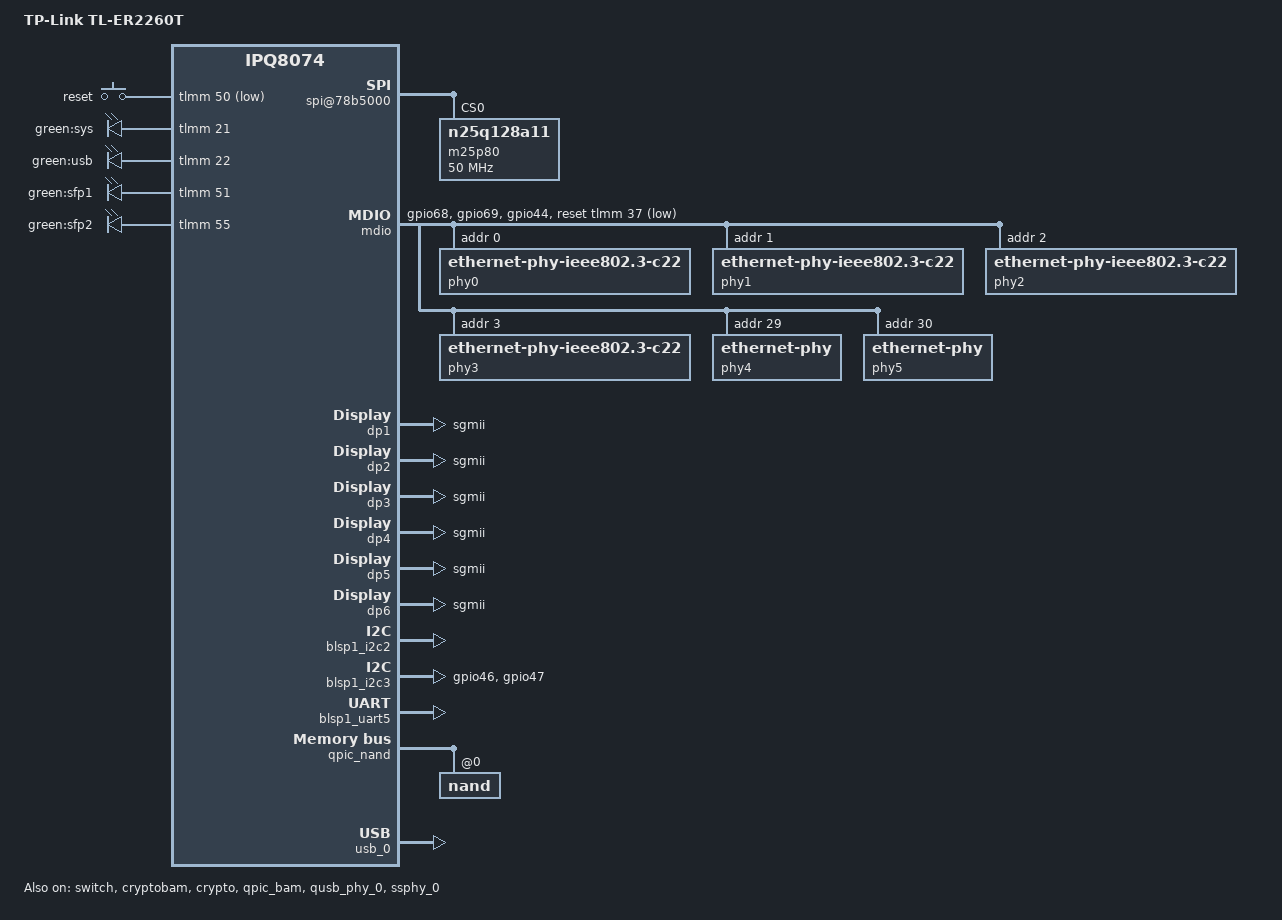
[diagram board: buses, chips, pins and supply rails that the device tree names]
// SPDX-License-Identifier: GPL-2.0-only
/* Copyright (c) 2020 The Linux Foundation. All rights reserved.
 */

/dts-v1/;

#include "ipq8074.dtsi"
#include "ipq8074-ess.dtsi"
#include "ipq8074-hk-cpu.dtsi"
#include <dt-bindings/gpio/gpio.h>
#include <dt-bindings/input/input.h>
#include <dt-bindings/leds/common.h>
/ {
	#address-cells = <0x2>;
	#size-cells = <0x2>;
	model = "TP-Link TL-ER2260T";
	compatible = "tplink,tl-er2260t", "qcom,ipq8074";
	qcom,msm-id = <0x143 0x0>;
	interrupt-parent = <&intc>;

	aliases {
		led-boot = &led_sys;
		led-failsafe = &led_sys;
		led-running = &led_sys;
		led-upgrade = &led_sys;
		serial0 = &blsp1_uart5;

		ethernet0 = "/soc/dp1";
		ethernet1 = "/soc/dp2";
		ethernet2 = "/soc/dp3";
		ethernet3 = "/soc/dp4";
		ethernet4 = "/soc/dp5";
		ethernet5 = "/soc/dp6";
	};

	chosen {
		stdout-path = "serial0";
		bootargs-append = " root=/dev/ubiblock0_1";
	};

	gpio_keys {
		compatible = "gpio-keys";
		pinctrl-0 = <&button_pins>;
		pinctrl-names = "default";

		reset {
			label = "reset";
			linux,code = <KEY_RESTART>;
			gpios = <&tlmm 50 GPIO_ACTIVE_LOW>;
			linux,input-type = <1>;
			debounce-interval = <60>;
		};
	};

	leds {
		compatible = "gpio-leds";
		pinctrl-0 = <&leds_pins>;
		pinctrl-names = "default";

		led_sys: sys {
			label = "green:sys";
			gpios = <&tlmm 21 GPIO_ACTIVE_HIGH>;
		};

		usb {
			label = "green:usb";
			gpios = <&tlmm 22 GPIO_ACTIVE_HIGH>;
			linux,default-trigger = "usbport";
		};

		sfp1-green {
			label = "green:sfp1";
			gpios = <&tlmm 51 GPIO_ACTIVE_HIGH>;
		};

		sfp2-green {
			label = "green:sfp2";
			gpios = <&tlmm 55 GPIO_ACTIVE_HIGH>;
		};
	};
	
	spi@78b5000 {
		status = "ok";
		pinctrl-0 = <&spi_0_pins>;
		pinctrl-names = "default";
		cs-select = <0>;

		m25p80@0 {
			  compatible = "n25q128a11";
			  #address-cells = <1>;
			  #size-cells = <1>;
			  reg = <0>;
			  spi-max-frequency = <50000000>;
		};
	};
};

&tlmm {
	mdio_pins: mdio_pinmux {
		mux_0 {
			pins = "gpio68";
			function = "mdc";
			drive-strength = <8>;
			bias-pull-up;
		};
		mux_1 {
			pins = "gpio69";
			function = "mdio";
			drive-strength = <8>;
			bias-pull-up;
		};
		mux_2 {
			pins = "gpio44";
			function = "gpio";
			bias-pull-up;
		};
	};

	i2c_1_pins: i2c_1_pins {
		pins = "gpio46", "gpio47";
		function = "blsp2_i2c";
		drive-strength = <8>;
		bias-disable;
	};

	button_pins: button_pins {
		reset {
			pins = "gpio50";
			function = "gpio";
			drive-strength = <8>;
			bias-pull-up;
		};
	};

	uniphy_pins: uniphy_pinmux {
		mux {
			pins = "gpio60";
			function = "rx2";
			bias-disable;
		};
		sfp_tx {
			pins = "gpio59";
			function = "gpio";
			drive-strength = <8>;
			bias-pull-down;
			output-high;
		};
	};

	leds_pins: leds_pinmux {
		mux {
			pins = "gpio21", "gpio22", "gpio65";
			function = "gpio";
			drive-strength = <8>;
			bias-pull-down;
		};
		led_sfp1_active {
			pins = "gpio51";
			function = "gpio";
			drive-strength = <8>;
			bias-pull-down;
		};
		led_sfp2_active {
			pins = "gpio55";
			function = "gpio";
			drive-strength = <8>;
			bias-pull-down;
		};
	};
};

&mdio {
	status = "okay";
	pinctrl-0 = <&mdio_pins>;
	pinctrl-names = "default";
	reset-gpios = <&tlmm 37 GPIO_ACTIVE_LOW>;

	phy0:ethernet-phy@0 {
		compatible = "ethernet-phy-ieee802.3-c22";
		reg = <0>;
	};
	phy1:ethernet-phy@1 {
		compatible = "ethernet-phy-ieee802.3-c22";
		reg = <1>;
	};
	phy2:ethernet-phy@2 {
		compatible = "ethernet-phy-ieee802.3-c22";
		reg = <2>;
	};
	phy3:ethernet-phy@3 {
		compatible = "ethernet-phy-ieee802.3-c22";
		reg = <3>;
	};
	phy4: ethernet-phy@29 {
		reg = <29>;
	};
	phy5: ethernet-phy@30 {
		reg = <30>;
	};
};

&switch {
	status = "okay";
	switch_cpu_bmp = <0x1>;  /* cpu port bitmap */
	switch_lan_bmp = <0x3e>; /* lan port bitmap */
	switch_wan_bmp = <0x40>; /* wan port bitmap */
	switch_mac_mode = <0xb>; /* mac mode for uniphy instance0*/
	switch_mac_mode1 = <0xe>; /* mac mode for uniphy instance1*/ //use 10g_baser mode for default
	switch_mac_mode2 = <0xe>; /* mac mode for uniphy instance2*/ //use 10g_baser mode for default
	bm_tick_mode = <0>; /* bm tick mode */
	tm_tick_mode = <0>; /* tm tick mode */
	cmnblk_clk = "external_50MHz";

	qcom,port_phyinfo {
		port@0 {
			port_id = <1>;
			phy_address = <0>;
		};
		port@1 {
			port_id = <2>;
			phy_address = <1>;
		};
		port@2 {
			port_id = <3>;
			phy_address = <2>;
		};
		port@3 {
			port_id = <4>;
			phy_address = <3>;
		};
		port@4 {
			port_id = <5>;
			phy_address = <29>;//29
			phy_i2c_address = <29>;//29
			phy-i2c-mode; /*i2c access phy */
			media-type = "sfp"; /* fiber mode */
		};
		port@5 {
			port_id = <6>;
			phy_address = <30>;//30
			phy_i2c_address = <30>;//30
			phy-i2c-mode; /*i2c access phy */
			media-type = "sfp"; /* fiber mode */
		};
	};
	port_scheduler_resource {
		port@0 {
			port_id = <0>;
			ucast_queue = <0 143>;
			mcast_queue = <256 271>;
			l0sp = <0 35>;
			l0cdrr = <0 47>;
			l0edrr = <0 47>;
			l1cdrr = <0 7>;
			l1edrr = <0 7>;
		};
		port@1 {
			port_id = <1>;
			ucast_queue = <144 159>;
			mcast_queue = <272 275>;
			l0sp = <36 39>;
			l0cdrr = <48 63>;
			l0edrr = <48 63>;
			l1cdrr = <8 11>;
			l1edrr = <8 11>;
		};
		port@2 {
			port_id = <2>;
			ucast_queue = <160 175>;
			mcast_queue = <276 279>;
			l0sp = <40 43>;
			l0cdrr = <64 79>;
			l0edrr = <64 79>;
			l1cdrr = <12 15>;
			l1edrr = <12 15>;
		};
		port@3 {
			port_id = <3>;
			ucast_queue = <176 191>;
			mcast_queue = <280 283>;
			l0sp = <44 47>;
			l0cdrr = <80 95>;
			l0edrr = <80 95>;
			l1cdrr = <16 19>;
			l1edrr = <16 19>;
		};
		port@4 {
			port_id = <4>;
			ucast_queue = <192 207>;
			mcast_queue = <284 287>;
			l0sp = <48 51>;
			l0cdrr = <96 111>;
			l0edrr = <96 111>;
			l1cdrr = <20 23>;
			l1edrr = <20 23>;
		};
		port@5 {
			port_id = <5>;
			ucast_queue = <208 223>;
			mcast_queue = <288 291>;
			l0sp = <52 55>;
			l0cdrr = <112 127>;
			l0edrr = <112 127>;
			l1cdrr = <24 27>;
			l1edrr = <24 27>;
		};
		port@6 {
			port_id = <6>;
			ucast_queue = <224 239>;
			mcast_queue = <292 295>;
			l0sp = <56 59>;
			l0cdrr = <128 143>;
			l0edrr = <128 143>;
			l1cdrr = <28 31>;
			l1edrr = <28 31>;
		};
		port@7 {
			port_id = <7>;
			ucast_queue = <240 255>;
			mcast_queue = <296 299>;
			l0sp = <60 63>;
			l0cdrr = <144 159>;
			l0edrr = <144 159>;
			l1cdrr = <32 35>;
			l1edrr = <32 35>;
		};
	};
	port_scheduler_config {
		port@0 {
			port_id = <0>;
			l1scheduler {
				group@0 {
					sp = <0 1>; /*L0 SPs*/
					/*cpri cdrr epri edrr*/
					cfg = <0 0 0 0>;
				};
			};
			l0scheduler {
				group@0 {
					/*unicast queues*/
					ucast_queue = <0 4 8>;
					/*multicast queues*/
					mcast_queue = <256 260>;
					/*sp cpri cdrr epri edrr*/
					cfg = <0 0 0 0 0>;
				};
				group@1 {
					ucast_queue = <1 5 9>;
					mcast_queue = <257 261>;
					cfg = <0 1 1 1 1>;
				};
				group@2 {
					ucast_queue = <2 6 10>;
					mcast_queue = <258 262>;
					cfg = <0 2 2 2 2>;
				};
				group@3 {
					ucast_queue = <3 7 11>;
					mcast_queue = <259 263>;
					cfg = <0 3 3 3 3>;
				};
			};
		};
		port@1 {
			port_id = <1>;
			l1scheduler {
				group@0 {
					sp = <36>;
					cfg = <0 8 0 8>;
				};
				group@1 {
					sp = <37>;
					cfg = <1 9 1 9>;
				};
			};
			l0scheduler {
				group@0 {
					ucast_queue = <144>;
					ucast_loop_pri = <16>;
					mcast_queue = <272>;
					mcast_loop_pri = <4>;
					cfg = <36 0 48 0 48>;
				};
			};
		};
		port@2 {
			port_id = <2>;
			l1scheduler {
				group@0 {
					sp = <40>;
					cfg = <0 12 0 12>;
				};
				group@1 {
					sp = <41>;
					cfg = <1 13 1 13>;
				};
			};
			l0scheduler {
				group@0 {
					ucast_queue = <160>;
					ucast_loop_pri = <16>;
					mcast_queue = <276>;
					mcast_loop_pri = <4>;
					cfg = <40 0 64 0 64>;
				};
			};
		};
		port@3 {
			port_id = <3>;
			l1scheduler {
				group@0 {
					sp = <44>;
					cfg = <0 16 0 16>;
				};
				group@1 {
					sp = <45>;
					cfg = <1 17 1 17>;
				};
			};
			l0scheduler {
				group@0 {
					ucast_queue = <176>;
					ucast_loop_pri = <16>;
					mcast_queue = <280>;
					mcast_loop_pri = <4>;
					cfg = <44 0 80 0 80>;
				};
			};
		};
		port@4 {
			port_id = <4>;
			l1scheduler {
				group@0 {
					sp = <48>;
					cfg = <0 20 0 20>;
				};
				group@1 {
					sp = <49>;
					cfg = <1 21 1 21>;
				};
			};
			l0scheduler {
				group@0 {
					ucast_queue = <192>;
					ucast_loop_pri = <16>;
					mcast_queue = <284>;
					mcast_loop_pri = <4>;
					cfg = <48 0 96 0 96>;
				};
			};
		};
		port@5 {
			port_id = <5>;
			l1scheduler {
				group@0 {
					sp = <52>;
					cfg = <0 24 0 24>;
				};
				group@1 {
					sp = <53>;
					cfg = <1 25 1 25>;
				};
			};
			l0scheduler {
				group@0 {
					ucast_queue = <208>;
					ucast_loop_pri = <16>;
					mcast_queue = <288>;
					mcast_loop_pri = <4>;
					cfg = <52 0 112 0 112>;
				};
			};
		};
		port@6 {
			port_id = <6>;
			l1scheduler {
				group@0 {
					sp = <56>;
					cfg = <0 28 0 28>;
				};
				group@1 {
					sp = <57>;
					cfg = <1 29 1 29>;
				};
			};
			l0scheduler {
				group@0 {
					ucast_queue = <224>;
					ucast_loop_pri = <16>;
					mcast_queue = <292>;
					mcast_loop_pri = <4>;
					cfg = <56 0 128 0 128>;
				};
			};
		};
		port@7 {
			port_id = <7>;
			l1scheduler {
				group@0 {
					sp = <60>;
					cfg = <0 32 0 32>;
				};
				group@1 {
					sp = <61>;
					cfg = <1 33 1 33>;
				};
			};
			l0scheduler {
				group@0 {
					ucast_queue = <240>;
					ucast_loop_pri = <16>;
					mcast_queue = <296>;
					cfg = <60 0 144 0 144>;
				};
			};
		};
	};
};

&soc {
	dp1: dp1 {
		device_type = "network";
		compatible = "qcom,nss-dp";
		qcom,id = <1>;
		reg = <0x3a001000 0x200>;
		qcom,mactype = <0>;
		local-mac-address = [000000000000];
		qcom,link-poll = <1>;
		qcom,phy-mdio-addr = <0>;
		phy-mode = "sgmii";
		mdio-bus = <&mdio>;
	};
	dp2: dp2 {
		device_type = "network";
		compatible = "qcom,nss-dp";
		qcom,id = <2>;
		reg = <0x3a001200 0x200>;
		qcom,mactype = <0>;
		local-mac-address = [000000000000];
		qcom,link-poll = <1>;
		qcom,phy-mdio-addr = <1>;
		phy-mode = "sgmii";
		mdio-bus = <&mdio>;
	};
	dp3: dp3 {
		device_type = "network";
		compatible = "qcom,nss-dp";
		qcom,id = <3>;
		reg = <0x3a001400 0x200>;
		qcom,mactype = <0>;
		local-mac-address = [000000000000];
		qcom,link-poll = <1>;
		qcom,phy-mdio-addr = <2>;
		phy-mode = "sgmii";
		mdio-bus = <&mdio>;
	};
	dp4: dp4 {
		device_type = "network";
		compatible = "qcom,nss-dp";
		qcom,id = <4>;
		reg = <0x3a001600 0x200>;
		qcom,mactype = <0>;
		local-mac-address = [000000000000];
		qcom,link-poll = <1>;
		qcom,phy-mdio-addr = <3>;
		phy-mode = "sgmii";
		mdio-bus = <&mdio>;
	};
	dp5: dp5 {
		device_type = "network";
		compatible = "qcom,nss-dp";
		qcom,id = <5>;
		reg = <0x3a001800 0x200>;
		qcom,mactype = <1>;
		local-mac-address = [000000000000];
		qcom,link-poll = <1>;
		qcom,phy-mdio-addr = <29>;
		phy-mode = "sgmii";
		mdio-bus = <&mdio>;
	};
	dp6: dp6 {
		device_type = "network";
		compatible = "qcom,nss-dp";
		qcom,id = <6>;
		reg = <0x3a007000 0x3fff>;
		qcom,mactype = <1>;
		local-mac-address = [000000000000];
		qcom,link-poll = <1>;
		qcom,phy-mdio-addr = <30>;
		phy-mode = "sgmii";
		mdio-bus = <&mdio>;
	};
	
	nss-macsec1 {
		compatible = "qcom,nss-macsec";
		phy_addr = <0x1c>;
		phy_access_mode = <0x00>;
		mdiobus = <&mdio>;
	};

	watchdog@b017000 {
		compatible = "qcom,kpss-wdt-ipq807x";
		reg = <0xb017000 0x1000>;
		reg-names = "kpss_wdt";
		interrupt-names = "bark_irq";
		interrupts = <0x00 0x03 0x00>;
		clocks = <&sleep_clk>;
		timeout-sec = <0x0a>;
		wdt-max-timeout = <0x20>;
	};
};

&blsp1_i2c2 {
	status = "okay";
};

&blsp1_i2c3 {
	pinctrl-0 = <&i2c_1_pins>;
	pinctrl-names = "default";
	status = "okay";
};

&blsp1_uart5 {
	status = "okay";
};

&cryptobam {
	status = "okay";
};

&crypto {
	status = "okay";
};

&qpic_bam {
	status = "okay";
};

&qpic_nand {
	status = "okay";

	nand@0 {
		reg = <0>;
		#address-cells = <1>;
		#size-cells = <1>;
		nand-ecc-strength = <4>;
		nand-ecc-step-size = <512>;
		nand-bus-width = <8>;

		partitions {
			compatible = "qcom,smem-part";
		};
	};
};

&qusb_phy_0 {
	status = "okay";
};

&ssphy_0 {
	status = "okay";
};

&usb_0 {
	status = "okay";
};
